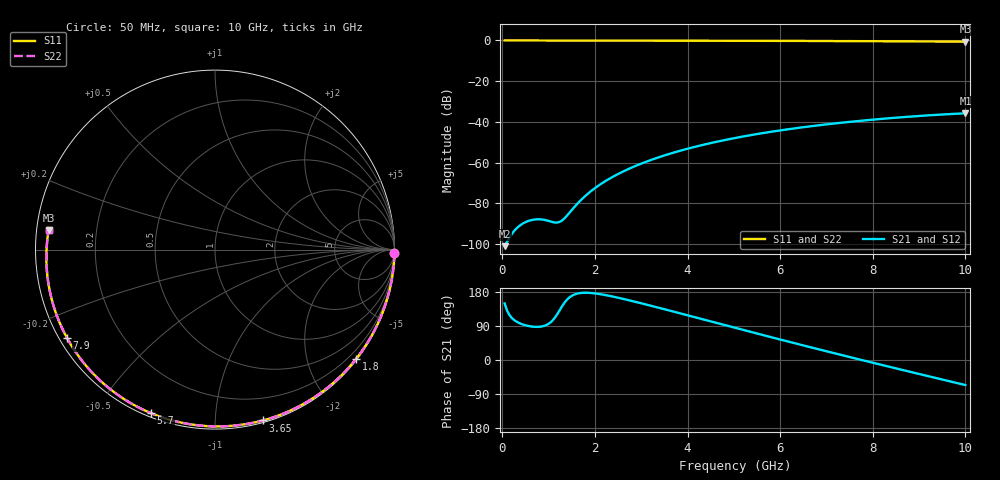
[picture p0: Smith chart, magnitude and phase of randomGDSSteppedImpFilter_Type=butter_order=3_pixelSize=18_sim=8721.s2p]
! freq	dB(S11)	phase(S11)	dB(S12)	phase(S12)
!  dB(S21)	phase(S21)	dB(S22)	phase(S22)
!S-par simulation data
#  GHz  S  DB  R 50
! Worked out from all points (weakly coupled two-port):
!   200 points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, 50 MHz to 10 GHz, reference 50 ohm
!   highest |S21| = -35.80 dB at 10 GHz (marker M1); lowest = -101.1 dB at 50 MHz (marker M2)
!   lowest |S11| = -0.6 dB at 10 GHz (marker M3), VSWR 28.97, Z = 1.73 + j2.91 ohm
!   |S11| at or under -10 dB: nowhere
!   |S22| runs from -0.6 to 0.0 dB; largest |S21 - S12| = 0
!   S11 on the Smith chart (normalised r, x): 50 MHz: open; 1.8 GHz: 0.03, -2.91; 3.65 GHz: 0.02, -1.32; 5.7 GHz: 0.02, -0.68; 7.9 GHz: 0.02, -0.28; 10 GHz: 0.03, +0.06
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0.05  -0.00 -1.1  -101.10 149.3  -101.10 149.3  -0.00 -1.1
0.4  -0.01 -8.6  -90.62 95.7  -90.62 95.7  -0.01 -8.6
0.8  -0.02 -17.1  -87.89 87.6  -87.89 87.6  -0.02 -17.1
1.6  -0.04 -33.8  -80.73 174.6  -80.73 174.6  -0.04 -33.8
1.65  -0.04 -34.8  -79.52 176.1  -79.52 176.1  -0.04 -34.8
1.75  -0.05 -36.8  -77.29 177.4  -77.29 177.4  -0.05 -36.9
1.8  -0.05 -37.9  -76.25 177.6  -76.25 177.6  -0.05 -37.9
2.1  -0.06 -44.0  -70.97 174.0  -70.97 174.0  -0.06 -44.0
2.45  -0.07 -51.0  -66.22 165.7  -66.22 165.7  -0.07 -51.0
2.9  -0.08 -59.9  -61.45 152.7  -61.45 152.7  -0.08 -59.9
3.4  -0.09 -69.6  -57.25 137.2  -57.25 137.2  -0.09 -69.6
3.65  -0.10 -74.3  -55.46 129.2  -55.46 129.2  -0.10 -74.4
4.35  -0.12 -87.4  -51.22 106.8  -51.22 106.8  -0.12 -87.4
5.05  -0.15 -100.0  -47.83 84.3  -47.83 84.3  -0.15 -100.0
5.7  -0.19 -111.4  -45.25 63.5  -45.25 63.5  -0.19 -111.4
6.2  -0.22 -120.0  -43.55 47.8  -43.55 47.8  -0.22 -120.0
6.7  -0.25 -128.6  -42.06 32.2  -42.06 32.2  -0.25 -128.6
7.3  -0.30 -138.8  -40.49 13.9  -40.49 13.9  -0.30 -138.8
7.9  -0.35 -149.0  -39.13 -4.2  -39.13 -4.2  -0.35 -149.1
8.35  -0.40 -156.8  -38.23 -17.7  -38.23 -17.7  -0.40 -156.8
9.2  -0.49 -171.8  -36.81 -42.8  -36.81 -42.8  -0.49 -171.9
10  -0.60 173.3  -35.80 -66.1  -35.80 -66.1  -0.60 173.3
